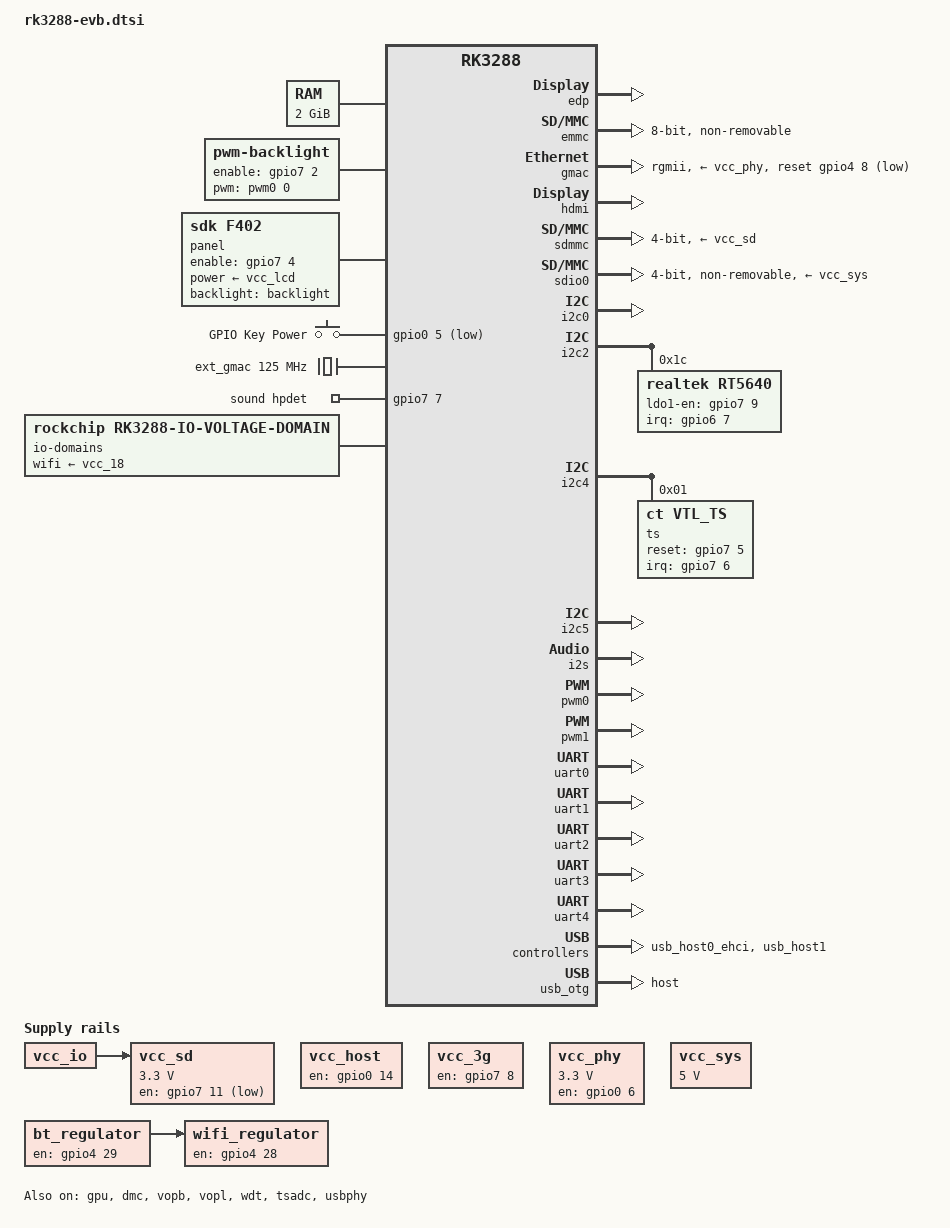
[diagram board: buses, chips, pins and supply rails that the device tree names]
/*
 * This file is dual-licensed: you can use it either under the terms
 * of the GPL or the X11 license, at your option. Note that this dual
 * licensing only applies to this file, and not this project as a
 * whole.
 *
 *  a) This file is free software; you can redistribute it and/or
 *     modify it under the terms of the GNU General Public License as
 *     published by the Free Software Foundation; either version 2 of the
 *     License, or (at your option) any later version.
 *
 *     This file is distributed in the hope that it will be useful,
 *     but WITHOUT ANY WARRANTY; without even the implied warranty of
 *     MERCHANTABILITY or FITNESS FOR A PARTICULAR PURPOSE.  See the
 *     GNU General Public License for more details.
 *
 * Or, alternatively,
 *
 *  b) Permission is hereby granted, free of charge, to any person
 *     obtaining a copy of this software and associated documentation
 *     files (the "Software"), to deal in the Software without
 *     restriction, including without limitation the rights to use,
 *     copy, modify, merge, publish, distribute, sublicense, and/or
 *     sell copies of the Software, and to permit persons to whom the
 *     Software is furnished to do so, subject to the following
 *     conditions:
 *
 *     The above copyright notice and this permission notice shall be
 *     included in all copies or substantial portions of the Software.
 *
 *     THE SOFTWARE IS PROVIDED "AS IS", WITHOUT WARRANTY OF ANY KIND,
 *     EXPRESS OR IMPLIED, INCLUDING BUT NOT LIMITED TO THE WARRANTIES
 *     OF MERCHANTABILITY, FITNESS FOR A PARTICULAR PURPOSE AND
 *     NONINFRINGEMENT. IN NO EVENT SHALL THE AUTHORS OR COPYRIGHT
 *     HOLDERS BE LIABLE FOR ANY CLAIM, DAMAGES OR OTHER LIABILITY,
 *     WHETHER IN AN ACTION OF CONTRACT, TORT OR OTHERWISE, ARISING
 *     FROM, OUT OF OR IN CONNECTION WITH THE SOFTWARE OR THE USE OR
 *     OTHER DEALINGS IN THE SOFTWARE.
 */

#include <dt-bindings/pwm/pwm.h>
#include "rk3288.dtsi"
#include "rk3288-veyron-lpddr.dtsi"

/ {
	memory {
		device_type = "memory";
		reg = <0x0 0x80000000>;
	};

	aliases {
		i2c10 = &edp;
	};

	backlight: backlight {
		compatible = "pwm-backlight";
		brightness-levels = <
			  0   1   2   3   4   5   6   7
			  8   9  10  11  12  13  14  15
			 16  17  18  19  20  21  22  23
			 24  25  26  27  28  29  30  31
			 32  33  34  35  36  37  38  39
			 40  41  42  43  44  45  46  47
			 48  49  50  51  52  53  54  55
			 56  57  58  59  60  61  62  63
			 64  65  66  67  68  69  70  71
			 72  73  74  75  76  77  78  79
			 80  81  82  83  84  85  86  87
			 88  89  90  91  92  93  94  95
			 96  97  98  99 100 101 102 103
			104 105 106 107 108 109 110 111
			112 113 114 115 116 117 118 119
			120 121 122 123 124 125 126 127
			128 129 130 131 132 133 134 135
			136 137 138 139 140 141 142 143
			144 145 146 147 148 149 150 151
			152 153 154 155 156 157 158 159
			160 161 162 163 164 165 166 167
			168 169 170 171 172 173 174 175
			176 177 178 179 180 181 182 183
			184 185 186 187 188 189 190 191
			192 193 194 195 196 197 198 199
			200 201 202 203 204 205 206 207
			208 209 210 211 212 213 214 215
			216 217 218 219 220 221 222 223
			224 225 226 227 228 229 230 231
			232 233 234 235 236 237 238 239
			240 241 242 243 244 245 246 247
			248 249 250 251 252 253 254 255>;
		default-brightness-level = <128>;
		enable-gpios = <&gpio7 2 GPIO_ACTIVE_HIGH>;
		pinctrl-names = "default";
		pinctrl-0 = <&bl_en>;
		pwms = <&pwm0 0 1000000 PWM_POLARITY_INVERTED>;
	};

	panel: panel {
		compatible ="sdk,f402","simple-panel";
		status = "okay";
		power-supply = <&vcc_lcd>;
		enable-gpios = <&gpio7 4 GPIO_ACTIVE_HIGH>;
		pinctrl-names = "default";
		pinctrl-0 = <&lcd_cs>;
		backlight = <&backlight>;
	};

	gpio-keys {
		compatible = "gpio-keys";
		#address-cells = <1>;
		#size-cells = <0>;
		autorepeat;

		pinctrl-names = "default";
		pinctrl-0 = <&pwrbtn>;

		button@0 {
			gpios = <&gpio0 5 GPIO_ACTIVE_LOW>;
			linux,code = <116>;
			label = "GPIO Key Power";
			linux,input-type = <1>;
			gpio-key,wakeup = <1>;
			debounce-interval = <100>;
		};
	};

	/* This turns on USB vbus for both host0 (ehci) and host1 (dwc2) */
	vcc_host: vcc-host-regulator {
		compatible = "regulator-fixed";
		enable-active-high;
		gpio = <&gpio0 14 GPIO_ACTIVE_HIGH>;
		pinctrl-names = "default";
		pinctrl-0 = <&host_vbus_drv>;
		regulator-name = "vcc_host";
		regulator-always-on;
		regulator-boot-on;
	};

	/* This switch DIO3222 HOST_DP_HOST to host2 (dwc2) */
	vcc_3g: vcc-3g-regulator {
		compatible = "regulator-fixed";
		enable-active-high;
		gpio = <&gpio7 8 GPIO_ACTIVE_HIGH>;
		pinctrl-names = "default";
		pinctrl-0 = <&pwr_3g>;
		regulator-name = "vcc_3g";
	};

	vcc_phy: vcc-phy-regulator {
		compatible = "regulator-fixed";
		enable-active-high;
		gpio = <&gpio0 6 GPIO_ACTIVE_HIGH>;
		pinctrl-names = "default";
		pinctrl-0 = <&eth_phy_pwr>;
		regulator-name = "vcc_phy";
		regulator-min-microvolt = <3300000>;
		regulator-max-microvolt = <3300000>;
		regulator-always-on;
		regulator-boot-on;
	};

	vcc_sys: vsys-regulator {
		compatible = "regulator-fixed";
		regulator-name = "vcc_sys";
		regulator-min-microvolt = <5000000>;
		regulator-max-microvolt = <5000000>;
		regulator-always-on;
		regulator-boot-on;
	};

	/*
	 * NOTE: vcc_sd isn't hooked up on v1.0 boards where power comes from
	 * vcc_io directly.  Those boards won't be able to power cycle SD cards
	 * but it shouldn't hurt to toggle this pin there anyway.
	 */
	vcc_sd: sdmmc-regulator {
		compatible = "regulator-fixed";
		gpio = <&gpio7 11 GPIO_ACTIVE_LOW>;
		pinctrl-names = "default";
		pinctrl-0 = <&sdmmc_pwr>;
		regulator-name = "vcc_sd";
		regulator-min-microvolt = <3300000>;
		regulator-max-microvolt = <3300000>;
		startup-delay-us = <100000>;
		vin-supply = <&vcc_io>;
	};

	ext_gmac: external-gmac-clock {
		compatible = "fixed-clock";
		clock-frequency = <125000000>;
		clock-output-names = "ext_gmac";
		#clock-cells = <0>;
	};

	sound {
		compatible = "rockchip,rockchip-audio-rt5640";
		// rockchip,model = "I2S-RT5640";
		rockchip,model = "DAISY-I2S";
		rockchip,i2s-controller = <&i2s>;
		rockchip,audio-codec = <&rt5640>;
		hpdet-gpios = <&gpio7 7 GPIO_ACTIVE_HIGH>;
		pinctrl-names = "default";
		pinctrl-0 = <&hp_det>;
	};

	wifi_regulator: wifi-regulator {
		/*
		 * On the module itself this is one of these (depending
		 * on the actual card populated):
		 * - SDIO_RESET_L_WL_REG_ON
		 * - PDN (power down when low)
		 */
		compatible = "regulator-fixed";
		enable-active-high;
		gpio = <&gpio4 28 GPIO_ACTIVE_HIGH>;
		pinctrl-names = "default";
		pinctrl-0 = <&wifi_enable_h>;
		regulator-name = "wifi_regulator";

		/* Faux input supply.  See bt_regulator description. */
		vin-supply = <&bt_regulator>;
	};

	bt_regulator: bt-regulator {
		/*
		 * On the module itself this is one of these (depending
		 * on the actual card pouplated):
		 * - BT_I2S_WS_BT_RFDISABLE_L
		 * - No connect
		 */
		compatible = "regulator-fixed";
		enable-active-high;
		gpio = <&gpio4 29 GPIO_ACTIVE_HIGH>;
		pinctrl-names = "default";
		pinctrl-0 = <&bt_enable_l>;
		regulator-name = "bt_regulator";
	};

	io-domains {
		compatible = "rockchip,rk3288-io-voltage-domain";
		rockchip,grf = <&grf>;
		wifi-supply = <&vcc_18>;
	};
};

&cpu0 {
	cpu0-supply = <&vdd_cpu>;
};

&gpu {
	status = "okay";
	mali-supply = <&vdd_gpu>;
};

&dmc {
	status = "okay";
	logic-supply = <&vdd_log>;
	rockchip,odt-disable-freq = <333000000>;
	rockchip,dll-disable-freq = <333000000>;
	rockchip,sr-enable-freq = <333000000>;
	rockchip,auto-self-refresh-cnt = <0>;
	rockchip,auto-power-down-cnt = <64>;
	rockchip,ddr-speed-bin = <21>;
	rockchip,trcd = <10>;
	rockchip,trp = <10>;
	rockchip,pd-enable-freq = <533000000>;
	operating-points = <
		/* KHz    uV */
		200000 1050000
		333000 1100000
		533000 1200000
	>;

	#cooling-cells = <2>; /* min followed by max */
};

&edp {
	status = "okay";
	rockchip,panel = <&panel>;
};

&emmc {
	broken-cd;
	bus-width = <8>;
	cap-mmc-highspeed;
	disable-wp;
	non-removable;
	num-slots = <1>;
	pinctrl-names = "default";
	pinctrl-0 = <&emmc_clk &emmc_cmd &emmc_pwr &emmc_bus8>;
	status = "okay";
};

&gmac {
	status = "okay";

	phy-supply = <&vcc_phy>;

	phy-mode = "rgmii";
	clock_in_out = "input";

	assigned-clocks = <&cru SCLK_MAC>;
	assigned-clock-parents = <&ext_gmac>;

	pinctrl-names = "default";
	pinctrl-0 = <&rgmii_pins>, <&phy_rst>, <&phy_pmeb>, <&phy_int>;

	tx_delay = <0x30>;
	rx_delay = <0x10>;

	resets = <&cru SRST_MAC>;
	reset-names = "stmmaceth";

	/* These properties are not actually used in rgmii mode,
	 * but the documentation states they're still required
	 * (including the active-low flag). */
	snps,reset-gpio = <&gpio4 8 0>;
	snps,reset-active-low;
	snps,reset-delays-us = <0 10000 1000000>;
};

&hdmi {
	ddc-i2c-bus = <&i2c5>;
	status = "okay";
};

&vopb {
	status = "okay";
};

&vopb_mmu {
	status = "okay";
};

&vopl {
	status = "okay";
};

&vopl_mmu {
	status = "okay";
};

&sdmmc {
	bus-width = <4>;
	cap-mmc-highspeed;
	cap-sd-highspeed;
	card-detect-delay = <200>;
	disable-wp;			/* wp not hooked up */
	num-slots = <1>;
	pinctrl-names = "default";
	pinctrl-0 = <&sdmmc_clk &sdmmc_cmd &sdmmc_cd &sdmmc_bus4>;
	status = "okay";
	vmmc-supply = <&vcc_sd>;
	vqmmc-supply = <&vccio_sd>;
};

&sdio0 {
	broken-cd;
	bus-width = <4>;
	cap-sd-highspeed;
	sd-uhs-sdr12;
	sd-uhs-sdr25;
	sd-uhs-sdr50;
	sd-uhs-sdr104;
	clock-freq-min-max = <400000 50000000>;
	cap-sdio-irq;
	card-external-vcc-supply = <&wifi_regulator>;
	clocks = <&cru HCLK_SDIO0>, <&cru SCLK_SDIO0>, <&cru SCLK_SDIO0_DRV>,
		 <&cru SCLK_SDIO0_SAMPLE>;
	clock-names = "biu", "ciu", "ciu_drv", "ciu_sample";
	keep-power-in-suspend;
	non-removable;
	num-slots = <1>;
	default-sample-phase = <90>;
	pinctrl-names = "default";
	pinctrl-0 = <&sdio0_clk &sdio0_cmd &sdio0_bus4>;
	status = "okay";
	vmmc-supply = <&vcc_sys>;
	vqmmc-supply = <&vcc_wl>;
};

&i2c0 {
	status = "okay";
};

&i2c2 {
	status = "okay";

	rt5640: rt5640@1c {
		compatible = "realtek,rt5640";
		reg = <0x1c>;
		interrupt-parent = <&gpio6>;
		interrupts = <7 IRQ_TYPE_EDGE_FALLING>;
		realtek,ldo1-en-gpios = <&gpio7 9 GPIO_ACTIVE_HIGH>;
	};
};

&i2c4 {
	status = "okay";

	ts@01 {
		compatible = "ct,vtl_ts";
		reg = <0x01>;
		screen_max_x = <1536>;
		screen_max_y = <2048>;
		xy_swap = <1>;
		x_reverse = <0>;
		y_reverse = <0>;
		x_mul = <2>;
		y_mul = <2>;
		bin_ver = <0>;
		pinctrl-names = "default";
		pinctrl-0 = <&vtl_reset &vtl_irq>;
		interrupt-parent = <&gpio7>;
		interrupts = <6 IRQ_TYPE_EDGE_FALLING>;
		vtl,reset-gpios = <&gpio7 5 0>;
	};
};

&i2c5 {
	status = "okay";
};

&i2s {
	status = "okay";
	clock-names = "i2s_hclk", "i2s_clk", "i2s_clk_out";
	clocks = <&cru HCLK_I2S0>, <&cru SCLK_I2S0>, <&cru SCLK_I2S0_OUT>;
};

&wdt {
	status = "okay";
};

&pwm0 {
	status = "okay";
};

&pwm1 {
	status = "okay";
};

&uart0 {
	status = "okay";
};

&uart1 {
	status = "okay";
};

&uart2 {
	status = "okay";
};

&uart3 {
	status = "okay";
};

&uart4 {
	status = "okay";
};

&tsadc {
	rockchip,hw-tshut-mode = <1>; /* tshut mode 0:CRU 1:GPIO */
	rockchip,hw-tshut-polarity = <1>; /* tshut polarity 0:LOW 1:HIGH */
	status = "okay";
};

&pinctrl {
	pcfg_pull_none_drv_8ma: pcfg-pull-none-drv-8ma {
		drive-strength = <8>;
	};

	pcfg_pull_up_drv_8ma: pcfg-pull-up-drv-8ma {
		bias-pull-up;
		drive-strength = <8>;
	};

	pcfg_output_high: pcfg-output-high {
		output-high;
	};

	pcfg_output_low: pcfg-output-low {
		output-low;
	};

	backlight {
		bl_en: bl-en {
			rockchip,pins = <7 2 RK_FUNC_GPIO &pcfg_pull_none>;
		};

		lcd_cs: lcd-cs {
			rockchip,pins = <7 4 RK_FUNC_GPIO &pcfg_pull_none>;
		};
	};

	buttons {
		pwrbtn: pwrbtn {
			rockchip,pins = <0 5 RK_FUNC_GPIO &pcfg_pull_up>;
		};
	};

	codec {
		hp_det: hp-det {
			rockchip,pins = <7 7 RK_FUNC_GPIO &pcfg_pull_up>;
		};
	};

	gmac {
		phy_rst: phy-rst {
			rockchip,pins = <4 8 RK_FUNC_GPIO &pcfg_output_high>;
		};

		phy_pmeb: phy-pmeb {
			rockchip,pins = <0 8 RK_FUNC_GPIO &pcfg_pull_up>;
		};

		phy_int: phy-int {
			rockchip,pins = <0 9 RK_FUNC_GPIO &pcfg_pull_up>;
		};
	};

	pmic {
		pmic_int: pmic-int {
			rockchip,pins = <RK_GPIO0 4 RK_FUNC_GPIO &pcfg_pull_up>;
		};
	};

	sdmmc {
		/*
		 * Default drive strength isn't enough to achieve even
		 * high-speed mode on EVB board so bump up to 8ma.
		 */
		sdmmc_bus4: sdmmc-bus4 {
			rockchip,pins = <6 16 RK_FUNC_1 &pcfg_pull_up_drv_8ma>,
					<6 17 RK_FUNC_1 &pcfg_pull_up_drv_8ma>,
					<6 18 RK_FUNC_1 &pcfg_pull_up_drv_8ma>,
					<6 19 RK_FUNC_1 &pcfg_pull_up_drv_8ma>;
		};

		sdmmc_clk: sdmmc-clk {
			rockchip,pins = <6 20 RK_FUNC_1 &pcfg_pull_none_drv_8ma>;
		};

		sdmmc_cmd: sdmmc-cmd {
			rockchip,pins = <6 21 RK_FUNC_1 &pcfg_pull_up_drv_8ma>;
		};

		sdmmc_pwr: sdmmc-pwr {
			rockchip,pins = <7 11 RK_FUNC_GPIO &pcfg_pull_none>;
		};
	};

	sdio0 {
		wifi_enable_h: wifienable-h {
			rockchip,pins = <4 28 RK_FUNC_GPIO &pcfg_pull_none>;
		};

		/* NOTE: mislabelled on schematic; should be bt_enable_h */
		bt_enable_l: bt-enable-l {
			rockchip,pins = <4 29 RK_FUNC_GPIO &pcfg_pull_none>;
		};

		bt_host_wake: bt-host-wake {
			rockchip,pins = <4 31 RK_FUNC_GPIO &pcfg_pull_down>;
		};

		/*
		 * We run sdio0 at max speed; bump up drive strength.
		 * We also have external pulls, so disable the internal ones.
		 */
		sdio0_bus4: sdio0-bus4 {
			rockchip,pins = <4 20 RK_FUNC_1 &pcfg_pull_none_drv_8ma>,
					<4 21 RK_FUNC_1 &pcfg_pull_none_drv_8ma>,
					<4 22 RK_FUNC_1 &pcfg_pull_none_drv_8ma>,
					<4 23 RK_FUNC_1 &pcfg_pull_none_drv_8ma>;
		};

		sdio0_cmd: sdio0-cmd {
			rockchip,pins = <4 24 RK_FUNC_1 &pcfg_pull_none_drv_8ma>;
		};

		sdio0_clk: sdio0-clk {
			rockchip,pins = <4 25 RK_FUNC_1 &pcfg_pull_none_drv_8ma>;
		};
	};

	usb {
		host_vbus_drv: host-vbus-drv {
			rockchip,pins = <0 14 RK_FUNC_GPIO &pcfg_pull_none>;
		};

		pwr_3g: pwr-3g {
			rockchip,pins = <7 8 RK_FUNC_GPIO &pcfg_pull_none>;
		};
	};

	eth_phy {
		eth_phy_pwr: eth-phy-pwr {
			rockchip,pins = <0 6 RK_FUNC_GPIO &pcfg_pull_none>;
		};
	};

	touch {
		vtl_reset: vtl-reset {
			rockchip,pins = <7 5 RK_FUNC_GPIO &pcfg_pull_none>;
		};

		vtl_irq: vtl-irq {
			rockchip,pins = <7 6 RK_FUNC_GPIO &pcfg_pull_none>;
		};
	};
};

&usbphy {
	status = "okay";
};

&usb_host0_ehci {
	status = "okay";
	needs-reset-on-resume;
};

&usb_host1 {
	status = "okay";
};

&vopb {
	status = "okay";
};

&vopb_mmu {
	status = "okay";
};

&vopl {
	status = "okay";
};

&vopl_mmu {
	status = "okay";
};

&usb_otg {
	dr_mode = "host";
	status = "okay";
	assigned-clocks = <&cru SCLK_USBPHY480M_SRC>;
	assigned-clock-parents = <&cru SCLK_OTGPHY0>;
};
